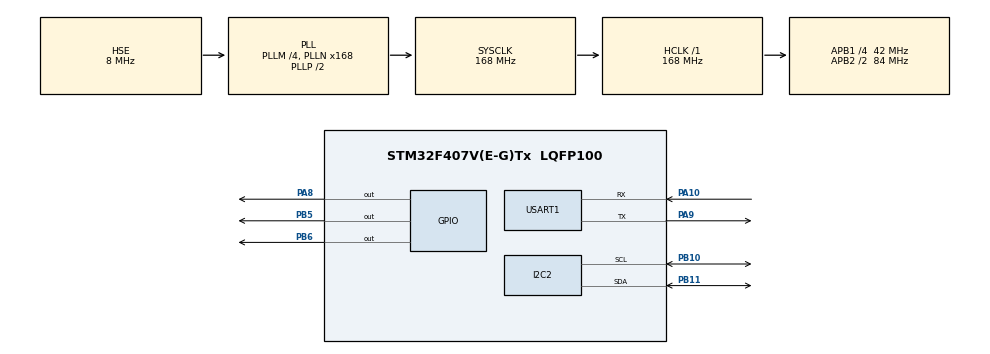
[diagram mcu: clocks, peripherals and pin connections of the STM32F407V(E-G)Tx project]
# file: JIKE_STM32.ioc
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I2C2.I2C_Mode=I2C_Fast
Mcu.Family=STM32F4
Mcu.Name=STM32F407V(E-G)Tx
Mcu.Package=LQFP100
NVIC.PriorityGroup=NVIC_PRIORITYGROUP_4
NVIC.USART1_IRQn=true\:0\:0\:false\:false\:true\:true\:true\:true
PA10.Mode=Asynchronous
PA10.Signal=USART1_RX
PA13.Mode=Serial_Wire
PA13.Signal=SYS_JTMS-SWDIO
PA14.Mode=Serial_Wire
PA14.Signal=SYS_JTCK-SWCLK
PA8.Signal=GPIO_Output
PA9.Mode=Asynchronous
PA9.Signal=USART1_TX
PB10.Mode=I2C
PB10.Signal=I2C2_SCL
PB11.Mode=I2C
PB11.Signal=I2C2_SDA
PB5.Signal=GPIO_Output
PB6.Signal=GPIO_Output
PH0-OSC_IN.Mode=HSE-External-Oscillator
PH0-OSC_IN.Signal=RCC_OSC_IN
PH1-OSC_OUT.Mode=HSE-External-Oscillator
PH1-OSC_OUT.Signal=RCC_OSC_OUT
ProjectManager.HeapSize=0x200
ProjectManager.StackSize=0x400
ProjectManager.TargetToolchain=MDK-ARM V5.32
RCC.48MHZClocksFreq_Value=84000000
RCC.AHBFreq_Value=168000000
RCC.APB1CLKDivider=RCC_HCLK_DIV4
RCC.APB1Freq_Value=42000000
RCC.APB1TimFreq_Value=84000000
RCC.APB2CLKDivider=RCC_HCLK_DIV2
RCC.APB2Freq_Value=84000000
RCC.APB2TimFreq_Value=168000000
RCC.CortexFreq_Value=168000000
RCC.HCLKFreq_Value=168000000
RCC.HSE_VALUE=8000000
RCC.HSI_VALUE=16000000
RCC.LSE_VALUE=32768
RCC.PLLM=4
RCC.PLLN=168
RCC.PLLSourceVirtual=RCC_PLLSOURCE_HSE
RCC.SYSCLKFreq_VALUE=168000000
RCC.SYSCLKSource=RCC_SYSCLKSOURCE_PLLCLK
RCC.VCOOutputFreq_Value=336000000
USART1.VirtualMode=VM_ASYNC
board=custom

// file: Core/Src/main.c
/* USER CODE BEGIN Header */
/**
  ******************************************************************************
  * @file           : main.c
  * @brief          : Main program body
  ******************************************************************************
  * @attention
  *
  * Copyright (c) 2024 STMicroelectronics.
  * All rights reserved.
  *
  * This software is licensed under terms that can be found in the LICENSE file
  * in the root directory of this software component.
  * If no LICENSE file comes with this software, it is provided AS-IS.
  *
  ******************************************************************************
  */
/* USER CODE END Header */
#include "main.h"
#include "i2c.h"
#include "usart.h"
#include "gpio.h"

/* USER CODE BEGIN Includes */
#include "stdio.h"
#include "string.h"
#include "12864.h"
#include "font.h"
#define DATA_BU_SIZE 1024  // 用户定义的缓冲区大小
/* USER CODE END Includes */

/* USER CODE BEGIN PTD */
uint8_t rs485_buff[256];
#define RXBUFFERSIZE                 100
uint8_t rx_len;
/* USER CODE END PTD */

void SystemClock_Config(void);

int main(void)
{

  /* MCU Configuration--------------------------------------------------------*/

  /* Reset of all peripherals, Initializes the Flash interface and the Systick. */
  HAL_Init();

  /* Configure the system clock */
  SystemClock_Config();

  /* USER CODE BEGIN SysInit */
/* USER CODE BEGIN 1 */
/* USER CODE END 1 */

  /* USER CODE END SysInit */

  /* Initialize all configured peripherals */
  MX_GPIO_Init();
  MX_USART1_UART_Init();
  MX_I2C2_Init();
  /* USER CODE BEGIN 2 */
		if(HAL_UART_Receive_IT(&huart1,rs485_buff,RXBUFFERSIZE)!=HAL_OK);//接收中断使能
		if(HAL_UART_Receive_IT(&huart1,rs485_buff,RXBUFFERSIZE)!=HAL_OK);//接收中断使能
		//使能空闲中断
	__HAL_UART_ENABLE_IT(&huart1,UART_IT_IDLE);
		OLED_Init();
		OLED_Clear();
			#if 1 //测试程序
		OLED_16x16_Chinese(32,0,1);
		OLED_16x16_Chinese(64,0,2);
		OLED_32x32_Chinese(0,0,4);
		OLED_ShowStr(0,5,"1234asd",1);
		OLED_ShowStr(0,6,"1234asd",2);
		OLED_32x32_Chinese(96,0,2);
		OLED_32x32_Chinese(72,4,1);
		 #endif

  /* USER CODE END 2 */

  /* Infinite loop */
  while (1)
  {

    /* USER CODE BEGIN 3 */
		HAL_GPIO_TogglePin(GPIOA,GPIO_PIN_8);
//		OLED_ShowStr(20,3,"12345679",1);

			HAL_Delay(100);

		/* Infinite loop */
/* USER CODE BEGIN WHILE */
  /* USER CODE END WHILE */

  /* USER CODE BEGIN 3 */

	}
  /* USER CODE END 3 */
}

void SystemClock_Config(void)
{
  RCC_OscInitTypeDef RCC_OscInitStruct = {0};
  RCC_ClkInitTypeDef RCC_ClkInitStruct = {0};

  /** Configure the main internal regulator output voltage
  */
  __HAL_RCC_PWR_CLK_ENABLE();
  __HAL_PWR_VOLTAGESCALING_CONFIG(PWR_REGULATOR_VOLTAGE_SCALE1);

  /** Initializes the RCC Oscillators according to the specified parameters
  * in the RCC_OscInitTypeDef structure.
  */
  RCC_OscInitStruct.OscillatorType = RCC_OSCILLATORTYPE_HSE;
  RCC_OscInitStruct.HSEState = RCC_HSE_ON;
  RCC_OscInitStruct.PLL.PLLState = RCC_PLL_ON;
  RCC_OscInitStruct.PLL.PLLSource = RCC_PLLSOURCE_HSE;
  RCC_OscInitStruct.PLL.PLLM = 4;
  RCC_OscInitStruct.PLL.PLLN = 168;
  RCC_OscInitStruct.PLL.PLLP = RCC_PLLP_DIV2;
  RCC_OscInitStruct.PLL.PLLQ = 4;
  if (HAL_RCC_OscConfig(&RCC_OscInitStruct) != HAL_OK)
  {
    Error_Handler();
  }

  /** Initializes the CPU, AHB and APB buses clocks
  */
  RCC_ClkInitStruct.ClockType = RCC_CLOCKTYPE_HCLK|RCC_CLOCKTYPE_SYSCLK
                              |RCC_CLOCKTYPE_PCLK1|RCC_CLOCKTYPE_PCLK2;
  RCC_ClkInitStruct.SYSCLKSource = RCC_SYSCLKSOURCE_PLLCLK;
  RCC_ClkInitStruct.AHBCLKDivider = RCC_SYSCLK_DIV1;
  RCC_ClkInitStruct.APB1CLKDivider = RCC_HCLK_DIV4;
  RCC_ClkInitStruct.APB2CLKDivider = RCC_HCLK_DIV2;

  if (HAL_RCC_ClockConfig(&RCC_ClkInitStruct, FLASH_LATENCY_5) != HAL_OK)
  {
    Error_Handler();
  }
}

/* USER CODE BEGIN 4 */
void HAL_UART_TxCpltCallback(UART_HandleTypeDef *huart)
{
	if(huart== &huart1)
			HAL_GPIO_WritePin(GPIOD,GPIO_PIN_10,GPIO_PIN_RESET);
}

void UsartReceive_IDLE(UART_HandleTypeDef *huart)
{
	__HAL_UART_CLEAR_IDLEFLAG(&huart1);

	rx_len = RXBUFFERSIZE - huart1.RxXferCount;
	HAL_UART_AbortReceive_IT(huart);

	HAL_UART_Receive_IT(&huart1,rs485_buff,RXBUFFERSIZE);
}

/* USER CODE END 4 */

void Error_Handler(void)
{
  __disable_irq();
  while (1)
  {
  }
}
